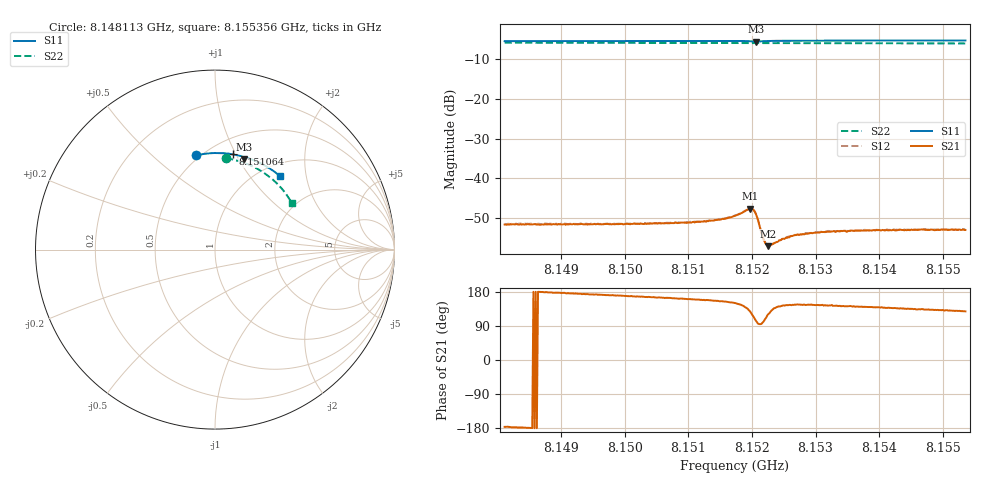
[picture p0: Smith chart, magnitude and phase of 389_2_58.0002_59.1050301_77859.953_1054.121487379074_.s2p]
#  HZ  S  RI  R  50.00
! Rohde & Schwarz Vector Network Analyzer
! Rohde-Schwarz,ZNB20-2Port,1311601062101988,3.16
! Created: UTC 3/21/2024, 1:07:45 AM
! freq[Hz]  re:S11  im:S11  re:S21  im:S21  re:S12  im:S12  re:S22  im:S22
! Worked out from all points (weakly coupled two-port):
!   401 points, 8.148113 GHz to 8.155356 GHz, reference 50 ohm
!   highest |S21| = -47.70 dB at 8.15197 GHz (marker M1); lowest = -57.1 dB at 8.152259 GHz (marker M2)
!   lowest |S11| = -5.5 dB at 8.15206 GHz (marker M3), VSWR 3.25, Z = 37.7 + j52.7 ohm
!   |S11| at or under -10 dB: nowhere
!   |S22| runs from -6.0 to -5.8 dB; largest |S21 - S12| = 0.00012
!   S11 on the Smith chart (normalised r, x): 8.148113 GHz: 0.48, +0.70; 8.151064 GHz: 0.65, +0.97; 8.155356 GHz: 1.23, +1.43
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8.1481127e9  -0.1041 0.5252  -0.00261 -0.000162  -0.00265 -0.000125  0.0613 0.5084
8.1493259e9  -0.0205 0.5372  -0.00264 0.000287  -0.00266 0.000328  0.1382 0.4915
8.1505392e9  0.064 0.5357  -0.00262 0.000685  -0.00262 0.000748  0.2109 0.4633
8.1510643e9  0.1006 0.5309  -0.00264 0.000941  -0.0026 0.000976  0.2406 0.4476
8.1514265e9  0.126 0.5259  -0.00272 0.00119  -0.00271 0.00121  0.2604 0.4355
8.1515895e9  0.1376 0.5229  -0.00279 0.00136  -0.0028 0.00141  0.2693 0.4299
8.1517343e9  0.1481 0.5195  -0.00292 0.00166  -0.00293 0.00175  0.2768 0.4248
8.1519698e9  0.1639 0.5078  -0.00258 0.00322  -0.00252 0.0033  0.289 0.4158
8.1520241e9  0.1636 0.504  -0.00165 0.00363  -0.00164 0.00366  0.2917 0.4136
8.1520603e9  0.1623 0.5036  -0.000884 0.00346  -0.000837 0.00353  0.2932 0.4124
8.1520965e9  0.1616 0.5048  -0.000302 0.00296  -0.000298 0.00295  0.2951 0.4112
8.1521508e9  0.1637 0.5079  -0.000195 0.00202  -0.000207 0.00205  0.2978 0.4092
8.1521871e9  0.1665 0.5092  -0.000353 0.00163  -0.00032 0.00162  0.2997 0.4079
8.1522233e9  0.1693 0.5099  -0.00053 0.00136  -0.000531 0.00137  0.3014 0.4065
8.1522595e9  0.1725 0.5102  -0.000721 0.00119  -0.000738 0.00124  0.3033 0.4052
8.1523138e9  0.1771 0.5099  -0.000979 0.0011  -0.000937 0.00111  0.3061 0.4029
8.1524587e9  0.1883 0.5075  -0.00132 0.00102  -0.0013 0.00104  0.3134 0.3972
8.1526398e9  0.2012 0.5035  -0.00155 0.00106  -0.00157 0.00108  0.3222 0.3898
8.1529476e9  0.2217 0.4958  -0.00167 0.00114  -0.00167 0.00119  0.3365 0.3766
8.1534365e9  0.253 0.4815  -0.00172 0.00132  -0.00168 0.00134  0.3585 0.3549
8.1541609e9  0.2968 0.4571  -0.00163 0.00149  -0.00164 0.00152  0.388 0.3203
8.155356e9  0.3633 0.4084  -0.00138 0.00174  -0.00138 0.00174  0.4293 0.2581
